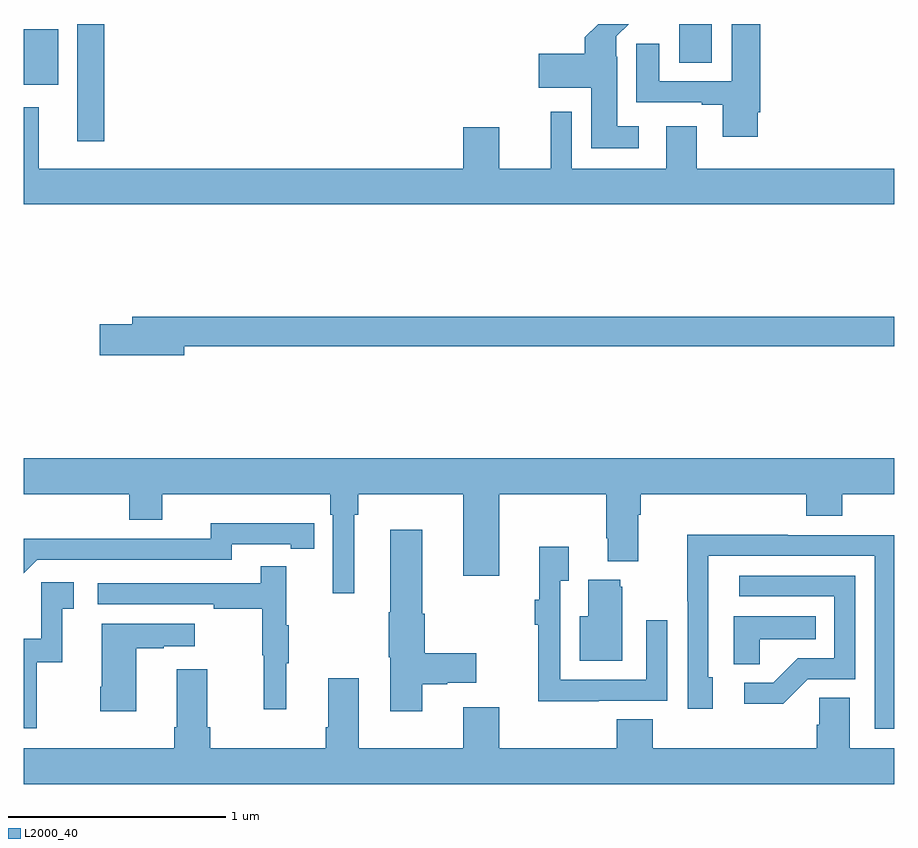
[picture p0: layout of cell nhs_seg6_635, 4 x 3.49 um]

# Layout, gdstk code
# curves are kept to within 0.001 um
import gdstk
lib = gdstk.Library(unit=1e-6, precision=1e-09)
def R(c, l, rs):  # rectangles x0, y0, x1, y1
    for r in rs: c.add(gdstk.rectangle(r[:2], r[2:], *l))
def P(c, l, *ps):  # polygons
    for p in ps: c.add(gdstk.Polygon(p, *l))
L2000_40 = (2000, 40)

nhs_seg6_635 = lib.new_cell('nhs_seg6_635')
R(nhs_seg6_635, L2000_40, [(151.247,944.961,151.369,945.5), (151,945.221,151.159,945.475), (154.013,945.322,154.162,945.5)])
P(nhs_seg6_635, L2000_40, [(153.826,945.031),(153.727,945.031),(153.727,945.35),(153.723,945.35),(153.723,945.444),(153.779,945.5),(153.64,945.5),(153.578,945.438),(153.578,945.364),(153.366,945.364),(153.366,945.206),(153.608,945.206),(153.608,944.93),(153.826,944.93)],
  [(154.372,945.094),(154.385,945.094),(154.385,945.5),(154.253,945.5),(154.253,945.237),(153.919,945.237),(153.919,945.409),(153.815,945.409),(153.815,945.141),(154.115,945.141),(154.115,945.129),(154.211,945.129),(154.211,944.982),(154.372,944.982)],
  [(155,944.836),(154.093,944.836),(154.093,945.031),(153.953,945.031),(153.953,944.836),(153.519,944.836),(153.519,945.097),(153.421,945.097),(153.421,944.836),(153.184,944.836),(153.184,945.025),(153.02,945.025),(153.02,944.836),(151.069,944.836),(151.069,945.118),(151,945.118),(151,944.672),(155,944.672)],
  [(151.738,944.02),(155,944.02),(155,944.156),(151.499,944.156),(151.499,944.12),(151.35,944.12),(151.35,943.978),(151.738,943.978)],
  [(152.518,943.244),(152.537,943.244),(152.537,943.34),(153.02,943.34),(153.02,942.966),(153.184,942.966),(153.184,943.34),(153.676,943.34),(153.676,943.138),(153.683,943.138),(153.683,943.031),(153.823,943.031),(153.823,943.244),(153.836,943.244),(153.836,943.34),(154.595,943.34),(154.595,943.241),(154.76,943.241),(154.76,943.34),(155,943.34),(155,943.504),(151,943.504),(151,943.34),(151.484,943.34),(151.484,943.223),(151.636,943.223),(151.636,943.34),(152.408,943.34),(152.408,943.244),(152.421,943.244),(152.421,942.885),(152.518,942.885)],
  [(151.062,943.038),(151.956,943.038),(151.956,943.11),(152.228,943.11),(152.228,943.09),(152.336,943.09),(152.336,943.206),(151.86,943.207),(151.86,943.134),(151.4,943.134),(151.4,943.136),(151,943.136),(151,942.976)],
  [(152.83,942.466),(152.946,942.466),(152.946,942.473),(153.079,942.473),(153.079,942.608),(152.843,942.608),(152.843,942.791),(152.83,942.791),(152.83,943.177),(152.684,943.177),(152.684,942.797),(152.677,942.797),(152.677,942.591),(152.684,942.591),(152.684,942.342),(152.83,942.342)],
  [(155,943.152),(154.511,943.152),(154.511,943.154),(154.048,943.154),(154.048,942.847),(154.05,942.847),(154.05,942.354),(154.165,942.354),(154.165,942.498),(154.146,942.498),(154.146,943.056),(154.911,943.056),(154.911,942.261),(155,942.261)],
  [(153.641,942.39),(153.957,942.39),(153.957,942.76),(153.861,942.76),(153.861,942.486),(153.465,942.486),(153.465,942.943),(153.505,942.943),(153.505,943.099),(153.368,943.099),(153.368,942.854),(153.349,942.854),(153.349,942.74),(153.364,942.74),(153.364,942.389),(153.641,942.389)],
  [(152.207,942.563),(152.218,942.563),(152.218,942.737),(152.207,942.737),(152.207,943.009),(152.089,943.009),(152.089,942.93),(151.341,942.93),(151.341,942.834),(151.873,942.834),(151.873,942.814),(152.097,942.814),(152.097,942.6),(152.104,942.6),(152.104,942.351),(152.207,942.351)],
  [(154.602,942.489),(154.821,942.489),(154.821,942.966),(154.287,942.966),(154.287,942.87),(154.725,942.87),(154.725,942.585),(154.556,942.585),(154.445,942.474),(154.311,942.474),(154.311,942.377),(154.489,942.377)],
  [(153.751,942.915),(153.74,942.915),(153.74,942.946),(153.593,942.946),(153.593,942.778),(153.554,942.778),(153.554,942.575),(153.751,942.575)],
  [(151.06,942.567),(151.178,942.567),(151.178,942.813),(151.231,942.813),(151.231,942.934),(151.08,942.934),(151.08,942.675),(151,942.675),(151,942.264),(151.06,942.264)],
  [(154.383,942.674),(154.64,942.674),(154.64,942.778),(154.262,942.778),(154.262,942.559),(154.383,942.559)],
  [(151.516,942.631),(151.643,942.631),(151.643,942.641),(151.786,942.641),(151.786,942.745),(151.358,942.745),(151.358,942.454),(151.351,942.454),(151.351,942.342),(151.516,942.342)],
  [(155,942.172),(154.795,942.172),(154.795,942.404),(154.656,942.404),(154.656,942.281),(154.643,942.281),(154.643,942.172),(153.89,942.172),(153.89,942.305),(153.725,942.305),(153.725,942.172),(153.184,942.172),(153.184,942.361),(153.02,942.361),(153.02,942.172),(152.539,942.172),(152.539,942.493),(152.399,942.493),(152.399,942.268),(152.387,942.268),(152.387,942.172),(151.856,942.172),(151.856,942.268),(151.843,942.268),(151.843,942.535),(151.703,942.535),(151.703,942.268),(151.691,942.268),(151.691,942.172),(151,942.172),(151,942.008),(155,942.008)])

lib.write_gds('nhs_seg6_635.gds')
